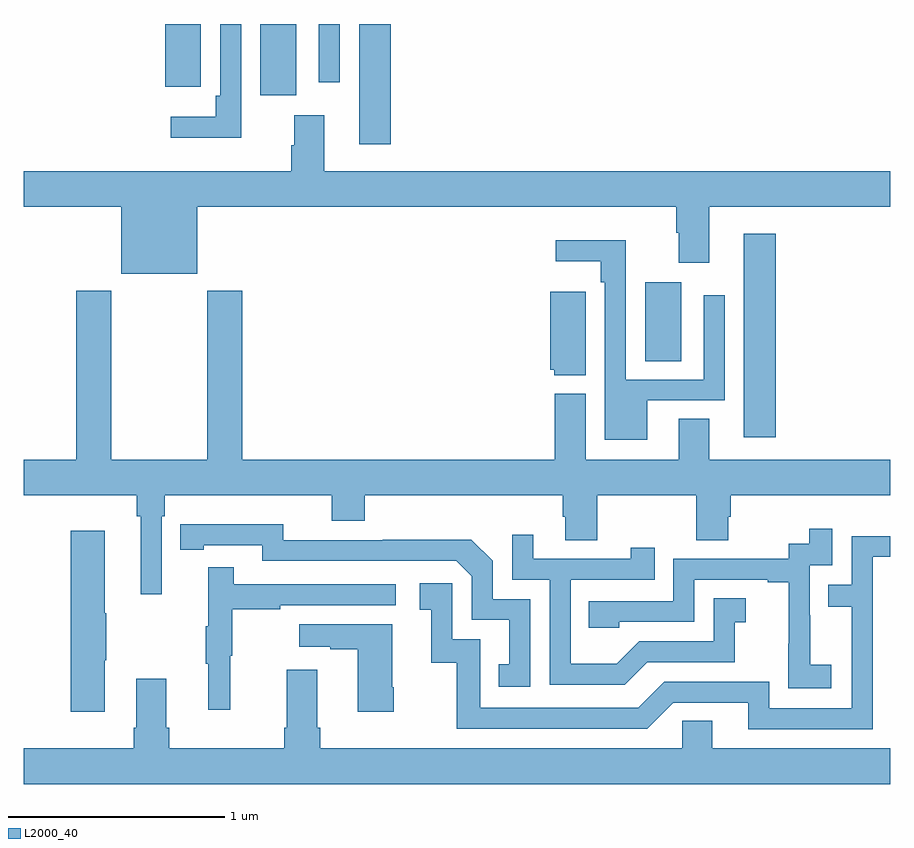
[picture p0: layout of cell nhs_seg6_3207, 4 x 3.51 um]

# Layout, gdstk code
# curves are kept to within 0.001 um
import gdstk
lib = gdstk.Library(unit=1e-6, precision=1e-09)
def R(c, l, rs):  # rectangles x0, y0, x1, y1
    for r in rs: c.add(gdstk.rectangle(r[:2], r[2:], *l))
def P(c, l, *ps):  # polygons
    for p in ps: c.add(gdstk.Polygon(p, *l))
L2000_40 = (2000, 40)

nhs_seg6_3207 = lib.new_cell('nhs_seg6_3207')
R(nhs_seg6_3207, L2000_40, [(302.324,959.592,302.471,960.532), (301.868,959.944,302.035,960.307), (300.548,960.945,300.695,961.5), (300.092,961.17,300.259,961.5), (299.654,961.211,299.818,961.5), (300.363,961.23,300.459,961.5)])
P(nhs_seg6_3207, L2000_40, [(300.003,961.5),(299.907,961.5),(299.907,961.168),(299.887,961.168),(299.887,961.072),(299.679,961.072),(299.679,960.974),(300.003,960.974)],
  [(299.8,960.656),(302.012,960.656),(302.012,960.536),(302.024,960.536),(302.024,960.399),(302.164,960.399),(302.164,960.656),(303,960.656),(303,960.82),(300.388,960.82),(300.388,961.078),(300.248,961.078),(300.248,960.941),(300.236,960.941),(300.236,960.82),(299,960.82),(299,960.656),(299.45,960.656),(299.45,960.347),(299.8,960.347)],
  [(301.879,959.763),(302.235,959.763),(302.235,960.247),(302.139,960.247),(302.139,959.859),(301.779,959.859),(301.779,960.502),(301.455,960.502),(301.455,960.404),(301.663,960.404),(301.663,960.308),(301.683,960.308),(301.683,959.582),(301.879,959.582)],
  [(299.521,959.228),(299.54,959.228),(299.54,958.869),(299.637,958.869),(299.637,959.228),(299.651,959.228),(299.651,959.324),(300.422,959.324),(300.422,959.207),(300.575,959.207),(300.575,959.324),(301.487,959.324),(301.487,959.226),(301.499,959.226),(301.499,959.116),(301.647,959.116),(301.647,959.324),(302.104,959.324),(302.104,959.116),(302.251,959.116),(302.251,959.226),(302.264,959.226),(302.264,959.324),(303,959.324),(303,959.488),(302.164,959.488),(302.164,959.678),(302.024,959.678),(302.024,959.488),(301.594,959.488),(301.594,959.794),(301.451,959.794),(301.451,959.488),(300.008,959.488),(300.008,960.268),(299.848,960.268),(299.848,959.488),(299.403,959.488),(299.403,960.268),(299.243,960.268),(299.243,959.488),(299,959.488),(299,959.324),(299.521,959.324)],
  [(301.594,960.265),(301.43,960.265),(301.43,959.904),(301.449,959.904),(301.449,959.879),(301.594,959.879)],
  [(301.338,958.845),(301.164,958.845),(301.164,959.022),(301.066,959.12),(300.658,959.12),(300.658,959.118),(300.198,959.118),(300.198,959.191),(299.722,959.19),(299.722,959.074),(299.83,959.074),(299.83,959.094),(300.102,959.094),(300.102,959.022),(300.996,959.022),(301.068,958.95),(301.068,958.749),(301.241,958.749),(301.241,958.545),(301.192,958.545),(301.192,958.44),(301.338,958.44)],
  [(302.728,958.543),(302.63,958.543),(302.63,958.772),(302.628,958.772),(302.628,959.001),(302.733,959.001),(302.733,959.17),(302.625,959.17),(302.625,959.1),(302.532,959.1),(302.532,959.031),(301.998,959.031),(301.998,958.836),(301.609,958.836),(301.609,958.713),(301.749,958.713),(301.749,958.74),(302.094,958.74),(302.094,958.935),(302.435,958.935),(302.435,958.923),(302.531,958.923),(302.531,958.639),(302.53,958.639),(302.53,958.433),(302.728,958.433)],
  [(299.374,958.564),(299.382,958.564),(299.382,958.781),(299.374,958.781),(299.374,959.161),(299.216,959.161),(299.216,958.326),(299.374,958.326)],
  [(301.879,958.554),(302.283,958.554),(302.283,958.739),(302.332,958.739),(302.332,958.849),(302.184,958.849),(302.184,958.65),(301.842,958.65),(301.738,958.546),(301.524,958.546),(301.524,958.935),(301.913,958.935),(301.913,959.083),(301.802,959.083),(301.802,959.031),(301.351,959.031),(301.351,959.143),(301.254,959.143),(301.254,958.935),(301.428,958.935),(301.428,958.449),(301.774,958.449)],
  [(302.919,959.04),(303,959.04),(303,959.136),(302.823,959.136),(302.823,958.911),(302.713,958.911),(302.713,958.81),(302.823,958.81),(302.823,958.341),(302.442,958.341),(302.442,958.464),(301.956,958.464),(301.836,958.344),(301.107,958.344),(301.107,958.659),(300.978,958.659),(300.978,958.918),(300.828,958.918),(300.828,958.797),(300.881,958.797),(300.881,958.551),(300.999,958.551),(300.999,958.248),(301.878,958.248),(301.998,958.368),(302.345,958.368),(302.345,958.245),(302.919,958.245)],
  [(299.954,958.584),(299.962,958.584),(299.962,958.798),(300.185,958.798),(300.185,958.818),(300.718,958.818),(300.718,958.914),(299.969,958.914),(299.969,958.993),(299.852,958.993),(299.852,958.721),(299.841,958.721),(299.841,958.547),(299.852,958.547),(299.852,958.335),(299.954,958.335)],
  [(300.708,958.438),(300.7,958.438),(300.7,958.729),(300.273,958.729),(300.273,958.625),(300.416,958.625),(300.416,958.615),(300.542,958.615),(300.542,958.326),(300.708,958.326)],
  [(303,958.156),(302.179,958.156),(302.179,958.283),(302.04,958.283),(302.04,958.156),(300.368,958.156),(300.368,958.252),(300.355,958.252),(300.355,958.519),(300.215,958.519),(300.215,958.252),(300.203,958.252),(300.203,958.156),(299.672,958.156),(299.672,958.252),(299.659,958.252),(299.659,958.477),(299.519,958.477),(299.519,958.252),(299.507,958.252),(299.507,958.156),(299,958.156),(299,957.992),(303,957.992)])

lib.write_gds('nhs_seg6_3207.gds')
